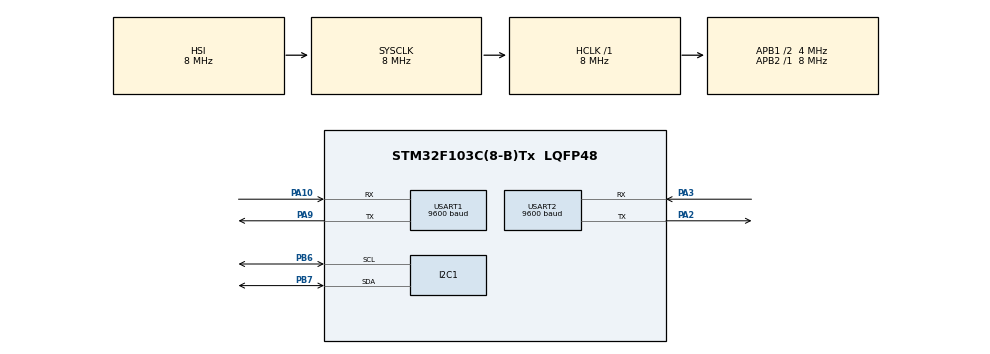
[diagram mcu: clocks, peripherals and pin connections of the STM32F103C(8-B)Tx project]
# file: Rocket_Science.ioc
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Mcu.Family=STM32F1
Mcu.Name=STM32F103C(8-B)Tx
Mcu.Package=LQFP48
NVIC.PriorityGroup=NVIC_PRIORITYGROUP_4
PA10.Mode=Asynchronous
PA10.Signal=USART1_RX
PA13.Mode=Serial_Wire
PA13.Signal=SYS_JTMS-SWDIO
PA14.Mode=Serial_Wire
PA14.Signal=SYS_JTCK-SWCLK
PA2.Mode=Asynchronous
PA2.Signal=USART2_TX
PA3.Mode=Asynchronous
PA3.Signal=USART2_RX
PA9.Mode=Asynchronous
PA9.Signal=USART1_TX
PB6.Mode=I2C
PB6.Signal=I2C1_SCL
PB7.Mode=I2C
PB7.Signal=I2C1_SDA
PD0-OSC_IN.Mode=HSE-External-Oscillator
PD0-OSC_IN.Signal=RCC_OSC_IN
PD1-OSC_OUT.Mode=HSE-External-Oscillator
PD1-OSC_OUT.Signal=RCC_OSC_OUT
ProjectManager.HeapSize=0x200
ProjectManager.StackSize=0x400
ProjectManager.TargetToolchain=TrueSTUDIO
RCC.AHBFreq_Value=8000000
RCC.APB1CLKDivider=RCC_HCLK_DIV2
RCC.APB1Freq_Value=4000000
RCC.APB1TimFreq_Value=8000000
RCC.APB2Freq_Value=8000000
RCC.APB2TimFreq_Value=8000000
RCC.HCLKFreq_Value=8000000
RCC.HSEDivPLL=RCC_HSE_PREDIV_DIV2
RCC.HSE_VALUE=16000000
RCC.PLLMUL=RCC_PLL_MUL9
RCC.PLLSourceVirtual=RCC_PLLSOURCE_HSE
RCC.SYSCLKFreq_VALUE=8000000
RCC.USBFreq_Value=72000000
USART1.BaudRate=9600
USART1.Mode=MODE_TX_RX
USART1.VirtualMode=VM_ASYNC
USART2.BaudRate=9600
USART2.VirtualMode=VM_ASYNC
board=custom

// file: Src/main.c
/* USER CODE BEGIN Header */
/**
  ******************************************************************************
  * @file           : main.c
  * @brief          : Main program body
  ******************************************************************************
  ** This notice applies to any and all portions of this file
  * that are not between comment pairs USER CODE BEGIN and
  * USER CODE END. Other portions of this file, whether
  * inserted by the user or by software development tools
  * are owned by their respective copyright owners.
  *
  * COPYRIGHT(c) 2019 STMicroelectronics
  *
  * Redistribution and use in source and binary forms, with or without modification,
  * are permitted provided that the following conditions are met:
  *   1. Redistributions of source code must retain the above copyright notice,
  *      this list of conditions and the following disclaimer.
  *   2. Redistributions in binary form must reproduce the above copyright notice,
  *      this list of conditions and the following disclaimer in the documentation
  *      and/or other materials provided with the distribution.
  *   3. Neither the name of STMicroelectronics nor the names of its contributors
  *      may be used to endorse or promote products derived from this software
  *      without specific prior written permission.
  *
  * THIS SOFTWARE IS PROVIDED BY THE COPYRIGHT HOLDERS AND CONTRIBUTORS "AS IS"
  * AND ANY EXPRESS OR IMPLIED WARRANTIES, INCLUDING, BUT NOT LIMITED TO, THE
  * IMPLIED WARRANTIES OF MERCHANTABILITY AND FITNESS FOR A PARTICULAR PURPOSE ARE
  * DISCLAIMED. IN NO EVENT SHALL THE COPYRIGHT HOLDER OR CONTRIBUTORS BE LIABLE
  * FOR ANY DIRECT, INDIRECT, INCIDENTAL, SPECIAL, EXEMPLARY, OR CONSEQUENTIAL
  * DAMAGES (INCLUDING, BUT NOT LIMITED TO, PROCUREMENT OF SUBSTITUTE GOODS OR
  * SERVICES; LOSS OF USE, DATA, OR PROFITS; OR BUSINESS INTERRUPTION) HOWEVER
  * CAUSED AND ON ANY THEORY OF LIABILITY, WHETHER IN CONTRACT, STRICT LIABILITY,
  * OR TORT (INCLUDING NEGLIGENCE OR OTHERWISE) ARISING IN ANY WAY OUT OF THE USE
  * OF THIS SOFTWARE, EVEN IF ADVISED OF THE POSSIBILITY OF SUCH DAMAGE.
  *
  ******************************************************************************
  */
/* USER CODE END Header */

#include "main.h"

/* USER CODE BEGIN Includes */
#include <math.h>
#include <string.h>
/* USER CODE END Includes */

I2C_HandleTypeDef hi2c1;

UART_HandleTypeDef huart1;
UART_HandleTypeDef huart2;

void SystemClock_Config(void);
static void MX_GPIO_Init(void);
static void MX_USART1_UART_Init(void);
static void MX_I2C1_Init(void);
static void MX_USART2_UART_Init(void);

/* USER CODE BEGIN 0 */
/*enum opcode {
	first_temperature = 1,
	second_pressure = 2,
	third_altitude = 3
};*/

short AC1, AC2, AC3, B1, B2, MB, MC, MD;
unsigned short AC4, AC5, AC6;
long X1, X2, B5, T;
long X1, X2, X3, B3, B6, P;
unsigned long B4, B7;
short oss = 1;
long UT, UP;
int temperature, pressure, reference_pressure, altitude;

char gps_data[500];
char Latitude[10], Longitude[11];

char all_data[12] = {'0'};
char sicaklik[6] = {'0'};
char basinc[8] = {'0'};
char yukseklik[8] = {'0'};

uint8_t data_length = 0;
int sicaklik_counter = 0, basinc_counter = 0, yukseklik_counter = 0;

uint8_t UART_Status;

void Callibration();
void writeReg(uint8_t reg, uint8_t val);
uint8_t readReg(uint8_t reg);
long Uncompansate_Temp();
long Get_Temp();
long Uncompansate_Pressure();
long Get_Pressure();
void Reference_Altitude();
long Get_Altitude();
void Get_GPS();
void Transmit_Data();

/* USER CODE END 0 */

int main(void)
{

  /* MCU Configuration--------------------------------------------------------*/

  /* Reset of all peripherals, Initializes the Flash interface and the Systick. */
  HAL_Init();

  /* Configure the system clock */
  SystemClock_Config();

  /* Initialize all configured peripherals */
  MX_GPIO_Init();
  MX_USART1_UART_Init();
  MX_I2C1_Init();
  MX_USART2_UART_Init();
  /* USER CODE BEGIN 2 */

  Callibration();
  HAL_Delay(5);
  Reference_Altitude();

  /* USER CODE END 2 */

  /* Infinite loop */
  while (1)
  {

    /* USER CODE BEGIN 3 */
	  temperature = Get_Temp();
	  pressure = Get_Pressure();
	  altitude = Get_Altitude();
	  Get_GPS();
	  HAL_Delay(100);
	  Transmit_Data();
	  HAL_Delay(500);
  }
  /* USER CODE END 3 */
}

void SystemClock_Config(void)
{
  RCC_OscInitTypeDef RCC_OscInitStruct = {0};
  RCC_ClkInitTypeDef RCC_ClkInitStruct = {0};

  /**Initializes the CPU, AHB and APB busses clocks
  */
  RCC_OscInitStruct.OscillatorType = RCC_OSCILLATORTYPE_HSI;
  RCC_OscInitStruct.HSIState = RCC_HSI_ON;
  RCC_OscInitStruct.HSICalibrationValue = RCC_HSICALIBRATION_DEFAULT;
  RCC_OscInitStruct.PLL.PLLState = RCC_PLL_NONE;
  if (HAL_RCC_OscConfig(&RCC_OscInitStruct) != HAL_OK)
  {
    Error_Handler();
  }
  /**Initializes the CPU, AHB and APB busses clocks
  */
  RCC_ClkInitStruct.ClockType = RCC_CLOCKTYPE_HCLK|RCC_CLOCKTYPE_SYSCLK
                              |RCC_CLOCKTYPE_PCLK1|RCC_CLOCKTYPE_PCLK2;
  RCC_ClkInitStruct.SYSCLKSource = RCC_SYSCLKSOURCE_HSI;
  RCC_ClkInitStruct.AHBCLKDivider = RCC_SYSCLK_DIV1;
  RCC_ClkInitStruct.APB1CLKDivider = RCC_HCLK_DIV2;
  RCC_ClkInitStruct.APB2CLKDivider = RCC_HCLK_DIV1;

  if (HAL_RCC_ClockConfig(&RCC_ClkInitStruct, FLASH_LATENCY_0) != HAL_OK)
  {
    Error_Handler();
  }
}

static void MX_I2C1_Init(void)
{

  hi2c1.Instance = I2C1;
  hi2c1.Init.ClockSpeed = 100000;
  hi2c1.Init.DutyCycle = I2C_DUTYCYCLE_2;
  hi2c1.Init.OwnAddress1 = 0;
  hi2c1.Init.AddressingMode = I2C_ADDRESSINGMODE_7BIT;
  hi2c1.Init.DualAddressMode = I2C_DUALADDRESS_DISABLE;
  hi2c1.Init.OwnAddress2 = 0;
  hi2c1.Init.GeneralCallMode = I2C_GENERALCALL_DISABLE;
  hi2c1.Init.NoStretchMode = I2C_NOSTRETCH_DISABLE;
  if (HAL_I2C_Init(&hi2c1) != HAL_OK)
  {
    Error_Handler();
  }

}

static void MX_USART1_UART_Init(void)
{

  huart1.Instance = USART1;
  huart1.Init.BaudRate = 9600;
  huart1.Init.WordLength = UART_WORDLENGTH_8B;
  huart1.Init.StopBits = UART_STOPBITS_1;
  huart1.Init.Parity = UART_PARITY_NONE;
  huart1.Init.Mode = UART_MODE_TX_RX;
  huart1.Init.HwFlowCtl = UART_HWCONTROL_NONE;
  huart1.Init.OverSampling = UART_OVERSAMPLING_16;
  if (HAL_UART_Init(&huart1) != HAL_OK)
  {
    Error_Handler();
  }

}

static void MX_USART2_UART_Init(void)
{

  huart2.Instance = USART2;
  huart2.Init.BaudRate = 9600;
  huart2.Init.WordLength = UART_WORDLENGTH_8B;
  huart2.Init.StopBits = UART_STOPBITS_1;
  huart2.Init.Parity = UART_PARITY_NONE;
  huart2.Init.Mode = UART_MODE_TX_RX;
  huart2.Init.HwFlowCtl = UART_HWCONTROL_NONE;
  huart2.Init.OverSampling = UART_OVERSAMPLING_16;
  if (HAL_UART_Init(&huart2) != HAL_OK)
  {
    Error_Handler();
  }

}

static void MX_GPIO_Init(void)
{

  /* GPIO Ports Clock Enable */
  __HAL_RCC_GPIOD_CLK_ENABLE();
  __HAL_RCC_GPIOA_CLK_ENABLE();
  __HAL_RCC_GPIOB_CLK_ENABLE();

}

/* USER CODE BEGIN 4 */
void Callibration()
{
	AC1 = (readReg(0xAA) << 8 | readReg(0xAB));
	AC2 = (readReg(0xAC) << 8 | readReg(0xAD));
	AC3 = (readReg(0xAE) << 8 | readReg(0xAF));
	AC4 = (readReg(0xB0) << 8 | readReg(0xB1));
	AC5 = (readReg(0xB2) << 8 | readReg(0xB3));
	AC6 = (readReg(0xB4) << 8 | readReg(0xB5));
	B1 = (readReg(0xB6) << 8 | readReg(0xB7));
	B2 = (readReg(0xB8) << 8 | readReg(0xB9));
	MB = (readReg(0xBA) << 8 | readReg(0xBB));
	MC = (readReg(0xBC) << 8 | readReg(0xBD));
	MD = (readReg(0xBE) << 8 | readReg(0xBF));
}

uint8_t readReg(uint8_t reg)
{
	uint8_t retVal = 0;
	HAL_I2C_Master_Transmit(&hi2c1, 0xEF, &reg , 1, 10000);
	HAL_I2C_Master_Receive(&hi2c1, 0xEF, &retVal, 1, 10000);
	return retVal;
}

long Uncompansate_Temp()
{
	uint8_t val1, val2;
	uint8_t reg_val = 0x2E;

	HAL_I2C_Mem_Write(&hi2c1, 0xEF, 0xF4, 1, &reg_val, 1, 1000);
	HAL_Delay(5);
	HAL_I2C_Mem_Read(&hi2c1, 0xEF, 0xF6, 1, &val1, 1, 1000);
	HAL_I2C_Mem_Read(&hi2c1, 0xEF, 0xF7, 1, &val2, 1, 1000);

	return ((val1<<8) | val2);
}

long Get_Temp()
{
	UT = Uncompansate_Temp();

	X1 = ((UT - AC6) * AC5) / pow(2,15);
	X2 = (MC * pow(2,11)) / (X1 + MD);
	B5 = X1 + X2;
	T = (B5 + 8) / ((float)160);

	return T;
}

long Uncompansate_Pressure()
{
	uint8_t val1, val2, val3;
	uint8_t reg_val = 0x34;

	HAL_I2C_Mem_Write(&hi2c1, 0xEF, (0xF4+(oss<<6)), 1, &reg_val, 1, 1000);
	HAL_Delay(5);
	HAL_I2C_Mem_Read(&hi2c1, 0xEF, 0xF6, 1, &val1, 1, 1000);
	HAL_I2C_Mem_Read(&hi2c1, 0xEF, 0xF7, 1, &val2, 1, 1000);
	HAL_I2C_Mem_Read(&hi2c1, 0xEF, 0xF8, 1, &val3, 1, 1000);

	return ((val1<<16 | val2<<8 | val3) >> (8-oss));
}

// Pressure value is calculated in term of hPa
long Get_Pressure()
{
	UP = Uncompansate_Pressure();

	B6 = B5 - 4000;
	X1 = (B2 * (B6 * B6 / pow(2,12))) / pow(2,11);
	X2 = AC2 * B6 / pow(2,11);
	X3 = X1 + X2;
	B3 = ((((AC1 * 4) + X3) << oss) + 2) / 4;
	X1 = (AC3 * B6) / pow(2,13);
	X2 = (B1 * ((B6 * B6) / pow(2,12))) / pow(2,16);
	X3 = ((X1 + X2) + 2) / pow(2,2);
	B4 = (AC4 * (unsigned long)(X3 + 32768)) / pow(2,15);
	B7 = ((unsigned long)UP - B3) * (50000 >> oss);
	if(B7 < 0x80000000)
		P = (B7 * 2) / B4;
	else
		P = (B7 / B4) * 2;
	X1 = (P / pow(2,8) * (P / pow(2,8)));
	X1 = (X1 * 3038) / pow(2,16);
	X2 = (-7357 * P) / pow(2,16);
	P = P + (X1 + X2 + 3791) / 16;

	return P / 100;
}

void Reference_Altitude()
{
	Get_Temp();
	reference_pressure = Get_Pressure();
}

long Get_Altitude()
{
	long A;

	A = 44330 * (1 - pow((pressure / reference_pressure), (1 / 5.255)));

	return A;
}

void Get_GPS()
{
	char *strFindptr;
	char temp;
	//const char key_word[7] = "$GNGLL,";		// strstr() fonksiyonu bununla calismadi ???

	UART_Status = HAL_UART_Receive(&huart1,(uint8_t *)gps_data,500,1000);

	strFindptr = strstr(gps_data, "$GNGLL,");

	if(strFindptr != 0)	{
		//(3)Extract Latitude
		strFindptr = strstr(&strFindptr[1],",");
		if(strFindptr[1]!=',')
		{
			memcpy(Latitude+1,&strFindptr[1],9);
			temp = Latitude[5];
			Latitude[5] = Latitude[4];
			Latitude[4] = Latitude[3];
			Latitude[3] = temp;
		}
		else
		{
			sprintf(Latitude+1,"--.------");
		}
		//(4)Extract Longitude
		strFindptr = strstr(&strFindptr[1],",");
		strFindptr = strstr(&strFindptr[1],",");
		if(strFindptr[1]!=',')
		{
			memcpy(Longitude+1,&strFindptr[1],10);
			temp = Longitude[6];
			Longitude[6] = Longitude[5];
			Longitude[5] = Longitude[4];
			Longitude[4] = temp;
		}
		else
		{
			sprintf(Longitude+1,"--.-------");
		}
	}
}

void Transmit_Data()
{
	data_length = 0;
	sicaklik_counter = 0;
	basinc_counter = 0;
	yukseklik_counter = 0;

	// Opcode
	sicaklik[0] = 1;
	basinc[0] = 2;
	yukseklik[0] = 3;
	Latitude[0] = 4;
	Longitude[0] = 5;

	// Value assignment
	sprintf(sicaklik+2,"%d",temperature);
	sprintf(basinc+2,"%d",pressure);
	sprintf(yukseklik+2,"%d",altitude);

	// Determining valid data length
	while(sicaklik[2+sicaklik_counter] != '\0'){
		data_length++;
		sicaklik_counter++;
	}

	while(basinc[2+basinc_counter] != '\0'){
		data_length++;
		basinc_counter++;
	}

	while(yukseklik[2+yukseklik_counter] != '\0'){
		data_length++;
		yukseklik_counter++;
	}

	// Assign valid length to array
	memcpy(sicaklik+1,&sicaklik_counter,1);
	memcpy(basinc+1,&basinc_counter,1);
	memcpy(yukseklik+1,&yukseklik_counter,1);

	HAL_UART_Transmit(&huart2,(uint8_t *)sicaklik,sicaklik_counter+2,100);
	HAL_Delay(20);
	HAL_UART_Transmit(&huart2,(uint8_t *)basinc,basinc_counter+2,100);
	HAL_Delay(20);
	HAL_UART_Transmit(&huart2,(uint8_t *)yukseklik,yukseklik_counter+2,100);
	HAL_Delay(20);
	HAL_UART_Transmit(&huart2,(uint8_t *)Latitude,10,100);
	HAL_Delay(20);
	HAL_UART_Transmit(&huart2,(uint8_t *)Longitude,11,100);
}
/* USER CODE END 4 */

void Error_Handler(void)
{
}

/************************ (C) COPYRIGHT STMicroelectronics *****END OF FILE****/
